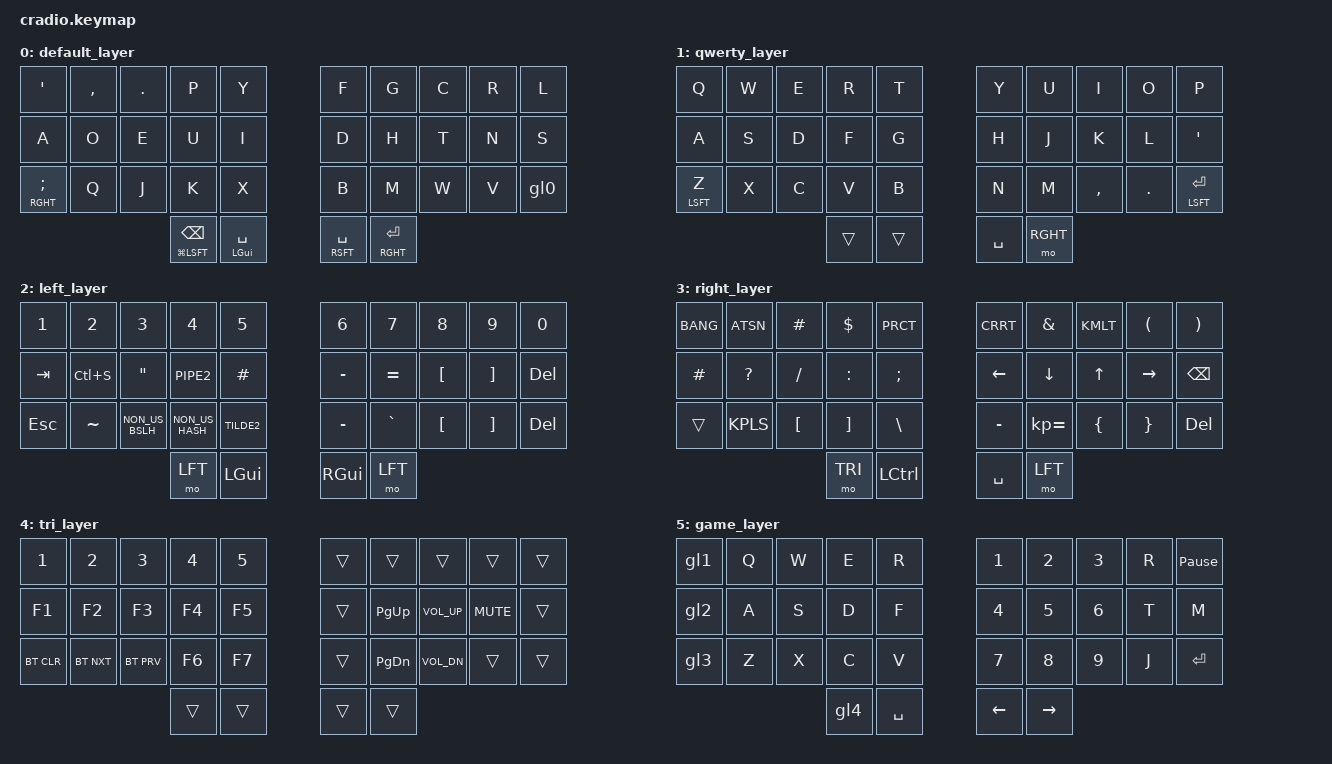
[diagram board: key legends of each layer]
/*
 * Copyright (c) 2020 The ZMK Contributors
 *
 * SPDX-License-Identifier: MIT
 */

#include <behaviors.dtsi>
#include <dt-bindings/zmk/keys.h>
#include <dt-bindings/zmk/bt.h>

#define DVORAK 0
#define QWERTY 1
#define LFT 2
#define RGHT 3
#define TRI 4
#define GAMING 5

&mt {
  //  flavor = "tap-preferred";
   // tapping_term_ms = <200>;
};

/ { 

    combos {
        /*
        | 0  | 1  | 2  | 3  | 4  |                         | 5  | 6  | 7  | 8  | 9  |
        | 10 | 11 | 12 | 13 | 14 |                         | 15 | 16 | 17 | 18 | 19 |
        | 20 | 21 | 22 | 23 | 24 |                         | 25 | 26 | 27 | 28 | 29 |
                             | 30 | 31 |             | 32 | 33 |
        */
        compatible = "zmk,combos";
        combo_esc {
            timeout-ms = <50>;
            key-positions = <0 1>;
            bindings = <&kp ESC>;
        };
        
         combo_tab {
            timeout-ms = <50>;
            key-positions = <10 11>;
            bindings = <&kp TAB>;
        };
        
            combo_ralt {
            timeout-ms = <50>;
            key-positions = <17 16>;
            bindings = <&kp RALT>;
        };
        
                    combo_lalt {
            timeout-ms = <50>;
            key-positions = <11 12>;
            bindings = <&kp LALT>;
        };
        
                           combo_lgui {
            timeout-ms = <50>;
            key-positions = <12 13>;
            bindings = <&kp LGUI>;
        };
        
        
           combo_rgui {
            timeout-ms = <50>;
            key-positions = <17 18>;
            bindings = <&kp RGUI>;
        };
        

        
    };

    behaviors {
        gl0: game_layer_0 {
            compatible = "zmk,behavior-tap-dance";
            label = "GAME_LAYER_0";
            #binding-cells = <0>;
            tapping-term-ms = <200>;
            bindings = <&kp Z>,<&tog QWERTY>, <&tog GAMING>;
        };
        gl1: game_layer_1 {
            compatible = "zmk,behavior-tap-dance";
            label = "GAME_LAYER_1";
            #binding-cells = <0>;
            tapping-term-ms = <200>;
            bindings = <&kp TAB>,<&kp ESC>, <&kp F1>;
        };
        gl2: game_layer_2 {
            compatible = "zmk,behavior-tap-dance";
            label = "GAME_LAYER_2";
            #binding-cells = <0>;
            tapping-term-ms = <200>;
            bindings = <&kp LCTL>,<&kp LSFT>, <&kp LALT>;
        };
        gl3: game_layer_3 {
            compatible = "zmk,behavior-tap-dance";
            label = "GAME_LAYER_3";
            #binding-cells = <0>;
            tapping-term-ms = <200>;
            bindings = <&kp N1>,<&kp N2>, <&kp N3>;
        };
        gl4: game_layer_4 {
            compatible = "zmk,behavior-tap-dance";
            label = "GAME_LAYER_4";
            #binding-cells = <0>;
            tapping-term-ms = <200>;
            bindings = <&kp LSFT>,<&kp LALT>, <&kp LCTRL>;
        };
    };

        keymap {
                compatible = "zmk,keymap";
                
                /* DVORAK
                | '         | , | . | P | Y    |                         | F    | G | I | R | L        |
                | A         | O | E | U | I    |                         | D    | H | K | N | S        |
                | ; (LSFT)  | Q | J | K | X    |                         | B    | M | W | V | Z (GAMING switch) |
                                        | LSFT(GAME Switch) | BSPC (LGUI) |            | SPC (RSFT) | RET (MO 3) |
                */
       		default_layer {
		bindings = <
		&kp QUOT      &kp CMMA &kp DOT &kp P &kp Y 						        &kp F &kp G  &kp C &kp R   &kp L 
		&kp A         &kp O    &kp E   &kp U &kp I 			        	        &kp D &kp H  &kp T &kp N   &kp S
		&lt RGHT SCLN &kp Q    &kp J   &kp K &kp X				                &kp B &kp M  &kp W &kp V &gl0
          				             &mt LG(LSFT) BSPC &mt LGUI SPC  			&mt RSFT SPC &lt RGHT RET
		>;
		};

                /* QWERTY
                | Q         | W | E | R | T    |                         | Y    | U | I | O | P          |
                | A         | S | D | F | G    |                         | H    | J | K | L | '          |
                | Z (LSFT)  | X | C | V | B    |                         | N    | M | , | . | RET (LSFT) |
                                        | MO 2 |  |            | SPC | MO 3 |
                */
       		qwerty_layer {
		bindings = <
		&kp Q      &kp W &kp E &kp R &kp T 						        &kp Y &kp U  &kp I    &kp O   &kp P 
		&kp A      &kp S &kp D &kp F &kp G 			        	        &kp H &kp J  &kp K    &kp L   &kp QUOT
		&mt LSFT Z &kp X &kp C &kp V &kp B				                &kp N &kp M  &kp CMMA &kp DOT &mt LSFT RET
          				             &trans &trans  			&kp SPC &mo RGHT 
		>;
		};

            /* LFT
                | 1   | 2       | 3 | 4 | 5    |                          | 6    | 7 | 8 | 9 | 0   |
                | TAB | LCTL(S) | " | | | #    |                          | -    | = | [ | ] | DEL |
                | ESC | ~       | \ | # | ~    |                          | -    | ` | [ | ] | DEL |
                                        | MO 2 | LGUI |            | RGUI | MO 3 |
            */
       		left_layer {
		bindings = <
		&kp NUM_1  &kp NUM_2    &kp NUM_3       &kp NUM_4        &kp NUM_5		                     &kp NUM_6 &kp NUM_7 &kp NUM_8 &kp NUM_9 &kp NUM_0 
		&kp TAB    &kp LC(S)    &kp DQT         &kp PIPE2        &kp HASH 		                     &kp MINUS &kp EQL   &kp LBKT  &kp RBKT  &kp DEL 
		&kp ESC    &kp TILDE 	&kp NON_US_BSLH &kp NON_US_HASH  &kp TILDE2 	                     &kp MINUS &kp GRAVE &kp LBKT  &kp RBKT  &kp DEL 
					                                             &mo LFT     &kp LGUI  		&kp RGUI &mo LFT
		>;
		};
		
            /*  RGHT
                | !    | @ | # | $ | %    |                         | ^    | &    | *    | (     | )    |
                | #    | ? | " | : | ;    |                         | LEFT | DOWN | UP   | RGHT  | BKSP |
                | LSFT | + | [ | ] | \    |                         | _    | =    | {    | }     | DEL  |
                                   | MO 4 | LCTL |            | SPC | MO 3 |
            */
		right_layer {
		bindings = <
		&kp BANG  &kp ATSN   &kp HASH  &kp DLLR   &kp PRCT    			             &kp CRRT  &kp AMPS      &kp KMLT  &kp LPRN   &kp RPRN 
		&kp HASH  &kp QMARK  &kp FSLH  &kp COLN   &kp SCLN 			                 &kp LEFT  &kp DOWN      &kp UP    &kp RIGHT  &kp BKSP
		&trans  &kp KPLS   &kp LBKT  &kp RBKT   &kp BSLH    			             &kp MINUS &kp KP_EQUAL  &kp LBRC  &kp RBRC   &kp DEL
					                              &mo TRI   &kp LCTL  		&kp SPC  &mo LFT 
		>;
		};	
		
            /* TRI
                | 1        | 2       | 3       | 4  | 5  |                  |  |       |        |      |  |
                | F1       | F2      | F3      | F4 | F5 |                  |  | PG UP | VOL UP | MUTE |  |
                | BT Clear | BT Next | BT Prev | F6 | F7 |                  |  | PG DN | VOL DN |      |  |
                                                    |    |  |            |  |  |
            */
		tri_layer {
		bindings = <
		&kp NUM_1   &kp NUM_2  &kp NUM_3   &kp NUM_4    &kp NUM_5 			           &trans &trans     &trans       &trans     &trans
		&kp F1      &kp F2     &kp F3      &kp F4       &kp F5  					   &trans &kp PG_UP  &kp K_VOL_UP &kp K_MUTE &trans 
		&bt BT_CLR  &bt BT_NXT &bt BT_PRV  &kp F6       &kp F7   				       &trans &kp PG_DN  &kp K_VOL_DN &trans     &trans   
					                                    &trans &trans  			&trans &trans 
		>;
		};	

            /* GAMING
                | TAB/ESC/F1     | Q | W | E | R |                  |  |       |        |      |  |
                | LCTL/LSFT/LALT | A | S | D | F |                  |  | PG UP | VOL UP | MUTE |  |
                | 1/2/3          | Z | X | C | V |                  |  | PG DN | VOL DN |      |  |
                                             | gl0 | SPC |            |  |  |
            */
		game_layer {
		bindings = <
		&gl1   &kp Q &kp W  &kp E    &kp R 			            &kp N1 &kp N2  &kp N3 &kp R &kp PAUSE_BREAK
		&gl2   &kp A &kp S  &kp D    &kp F  				    &kp N4 &kp N5  &kp N6 &kp T &kp M 
		&gl3   &kp Z &kp X  &kp C    &kp V   				    &kp N7 &kp N8  &kp N9 &kp J &kp RET   
					                     &gl4 &kp SPC  	&kp LEFT &kp RIGHT 
		>;
		};	
        
	};
};
